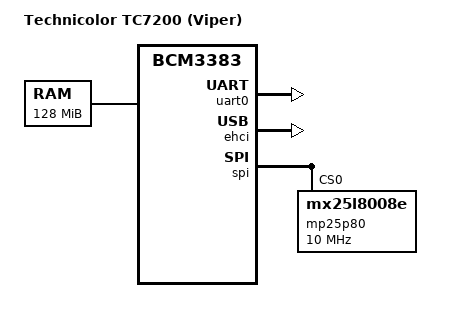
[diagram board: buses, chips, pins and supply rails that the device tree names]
/dts-v1/;

/include/ "bcm3383_viper.dtsi"

/ {
	compatible = "technicolor,tc7200-viper", "brcm,bcm3383-viper";
	model = "Technicolor TC7200 (Viper)";

	memory@0 {
		device_type = "memory";
		reg = <0x00000000 0x08000000>;
	};

	chosen {
		bootargs = "console=ttyS0,115200";
		stdout-path = &uart0;
	};
};

&uart0 {
	status = "okay";
};

&ehci {
	status = "okay";
};

&spi {
	status = "okay";
	
	mp25p80@0 {
		#address-cells = <1>;
		#size-cells = <1>;
		compatible = "mx25l8008e";
		spi-max-frequency = <10000000>;
		reg = <0 0>;
	};
};

&nand {
	status = "disabled";

	nandcs@1 {
		compatible = "brcm,nandcs";
		reg = <1>;

		nand-on-flash-bbt;
		nand-ecc-strength = <4>;
		nand-ecc-step-size = <512>;
		//brcm,nand-oob-sector-size = <16>;

		partitions {
			compatible = "fixed-partitions";
			#address-cells = <1>;
			#size-cells = <1>;

			flash@0 {
				reg = <0 0>;
			};
		};
	};
};

